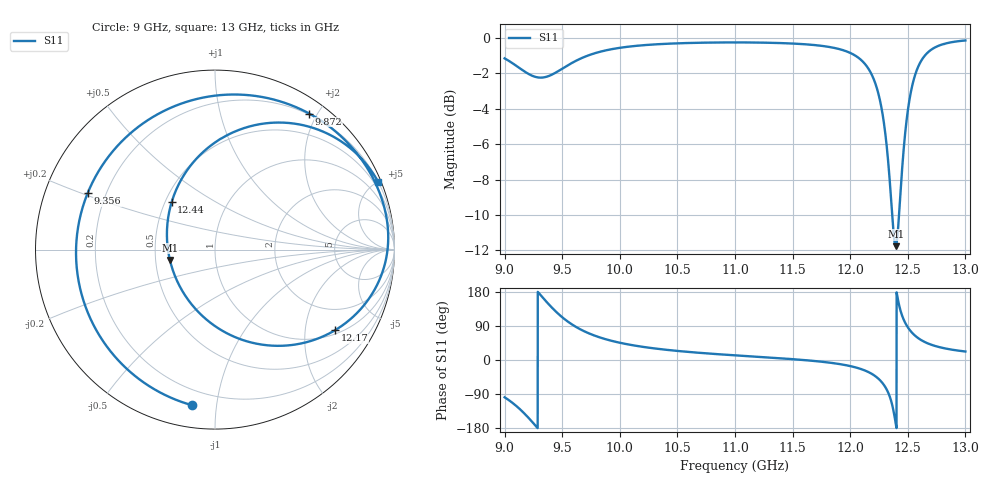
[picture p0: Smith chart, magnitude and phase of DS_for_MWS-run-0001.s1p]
! TOUCHSTONE file generated by CST DESIGN STUDIO
! Date and time: Tue Feb  4 17:37:46 2025
! Project name: C:\Work\MatlabApps\UnitCellOptimizationMatlab\CST\unitcell.cst
! Tree item: Tasks\Sweep1\SPara1\S-Parameters
! Header version: 2024
! Port assignment regex: !\s*Touchstone port\s*([0-9]+)\s*=\s*(CST MWS port|CST DES external port|CST DES block port)\s*(.+)\s* \(\"(.*)\"\)(\s*mode\s*([0-9]+))?.*
! Touchstone port assignment:
! Touchstone port 1 = CST DES external port 1 ("")
# GHz S MA R 50
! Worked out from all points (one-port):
!   4001 points, 9 GHz to 13 GHz, reference 50 ohm
!   lowest |S11| = -11.8 dB at 12.39 GHz (marker M1), VSWR 1.70, Z = 29.7 - j3.72 ohm
!   |S11| at or under -10 dB: 12.36465 GHz to 12.42394 GHz (59.29 MHz wide, 0.478 % of centre)
!   S11 on the Smith chart (normalised r, x): 9 GHz: 0.11, -0.86; 9.356 GHz: 0.13, +0.21; 9.872 GHz: 0.19, +1.89; 12.17 GHz: 1.13, -2.88; 12.44 GHz: 0.54, +0.33; 13 GHz: 0.20, +5.04
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9  0.8763 -98.4
9.11  0.8311 -123.5
9.217  0.7888 -155.7
9.287  0.7742 -179.8
9.356  0.7761 156.1
9.429  0.7938 132.6
9.5  0.8192 112.9
9.644  0.8704 83.1
9.872  0.9221 55.3
10  0.9386 45.5
10.216  0.9554 34.0
10.5  0.9664 23.9
11  0.9722 12.3
11.5  0.9651 2.2
12  0.908 -16.0
12.172  0.8053 -33.9
12.24  0.7057 -48.0
12.305  0.5361 -71.6
12.349  0.3731 -101.5
12.395  0.2579 -166.9
12.435  0.359 132.2
12.468  0.5007 104.1
12.5  0.6227 86.4
12.54  0.7373 71.0
12.589  0.8283 58.0
12.683  0.9162 42.7
12.811  0.962 31.3
13  0.9847 22.4
